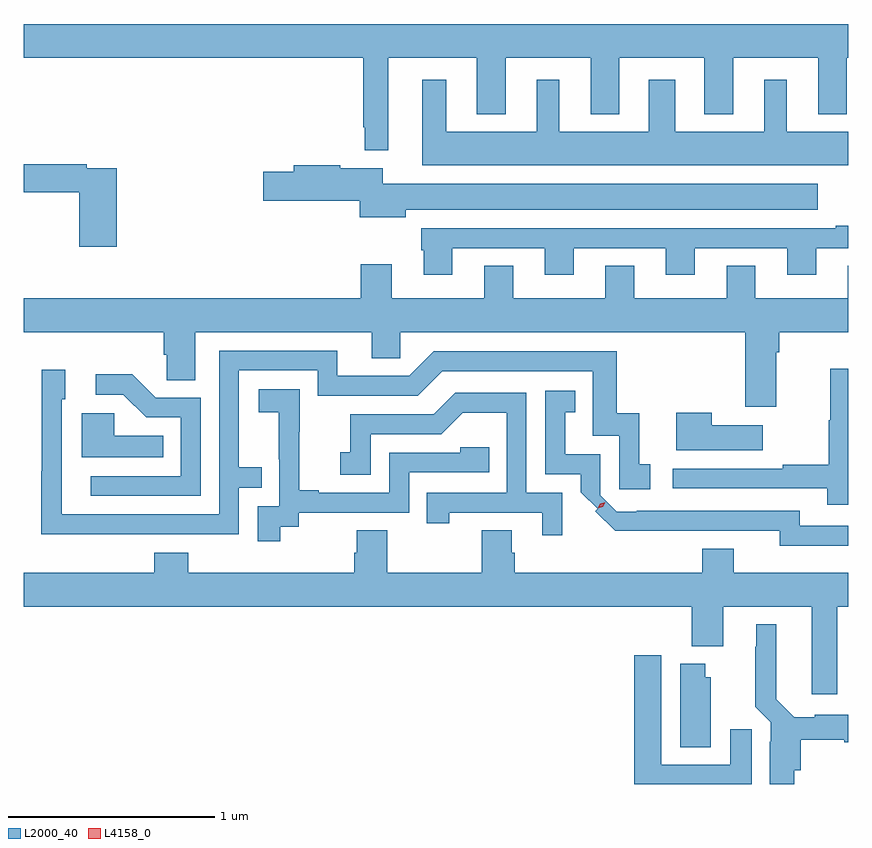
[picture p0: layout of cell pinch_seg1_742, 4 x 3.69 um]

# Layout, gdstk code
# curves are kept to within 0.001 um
import gdstk
lib = gdstk.Library(unit=1e-6, precision=1e-09)
def P(c, l, *ps):  # polygons
    for p in ps: c.add(gdstk.Polygon(p, *l))
L2000_40 = (2000, 40)
L4158_0 = (4158, 0)

pinch_seg1_742 = lib.new_cell('pinch_seg1_742')
P(pinch_seg1_742, L2000_40, [(878.563,517.1),(878.993,517.1),(878.993,516.827),(879.133,516.827),(879.133,517.1),(879.545,517.1),(879.545,516.827),(879.685,516.827),(879.685,517.1),(880.097,517.1),(880.097,516.827),(880.237,516.827),(880.237,517.1),(880.649,517.1),(880.649,516.827),(880.789,516.827),(880.789,517.1),(880.795,517.1),(880.795,517.264),(876.795,517.264),(876.795,517.1),(878.442,517.1),(878.442,516.763),(878.449,516.763),(878.449,516.651),(878.563,516.651)],
  [(880.795,516.742),(880.498,516.742),(880.498,516.994),(880.388,516.994),(880.388,516.742),(879.955,516.742),(879.955,516.994),(879.827,516.994),(879.827,516.742),(879.394,516.742),(879.394,516.994),(879.284,516.994),(879.284,516.742),(878.845,516.742),(878.845,516.994),(878.729,516.994),(878.729,516.578),(880.795,516.578)],
  [(877.247,516.564),(877.1,516.564),(877.1,516.584),(876.795,516.584),(876.795,516.448),(877.064,516.448),(877.064,516.183),(877.247,516.183)],
  [(878.647,516.362),(880.648,516.362),(880.648,516.49),(878.536,516.49),(878.536,516.565),(878.33,516.565),(878.33,516.578),(878.105,516.578),(878.105,516.548),(877.956,516.548),(877.956,516.406),(878.426,516.406),(878.426,516.326),(878.647,516.326)],
  [(878.875,516.177),(879.323,516.177),(879.323,516.048),(879.463,516.048),(879.463,516.177),(879.911,516.177),(879.911,516.048),(880.051,516.048),(880.051,516.177),(880.499,516.177),(880.499,516.048),(880.639,516.048),(880.639,516.177),(880.795,516.177),(880.795,516.286),(880.735,516.286),(880.735,516.273),(878.723,516.273),(878.723,516.165),(878.735,516.165),(878.735,516.048),(878.875,516.048)],
  [(880.295,515.406),(880.447,515.406),(880.447,515.672),(880.46,515.672),(880.46,515.768),(880.795,515.768),(880.795,516.092),(880.793,516.092),(880.793,515.932),(880.345,515.932),(880.345,516.092),(880.205,516.092),(880.205,515.932),(879.757,515.932),(879.757,516.092),(879.617,516.092),(879.617,515.932),(879.169,515.932),(879.169,516.092),(879.029,516.092),(879.029,515.932),(878.581,515.932),(878.581,516.097),(878.429,516.097),(878.429,515.932),(876.795,515.932),(876.795,515.768),(877.475,515.768),(877.475,515.659),(877.488,515.659),(877.488,515.536),(877.627,515.536),(877.627,515.768),(878.483,515.768),(878.483,515.641),(878.622,515.641),(878.622,515.768),(880.295,515.768)],
  [(877.343,514.788),(877.839,514.788),(877.839,515.013),(877.949,515.013),(877.949,515.114),(877.839,515.114),(877.839,515.583),(878.22,515.583),(878.22,515.46),(878.706,515.46),(878.826,515.58),(879.555,515.58),(879.555,515.265),(879.684,515.265),(879.684,515.007),(879.835,515.007),(879.835,515.127),(879.782,515.127),(879.782,515.374),(879.671,515.374),(879.671,515.676),(878.784,515.676),(878.664,515.556),(878.317,515.556),(878.317,515.679),(877.743,515.679),(877.743,514.884),(876.979,514.884),(876.978,515.442),(876.997,515.442),(876.997,515.587),(876.882,515.587),(876.882,515.093),(876.88,515.093),(876.88,514.787)],
  [(880.795,515.59),(880.708,515.59),(880.708,515.34),(880.701,515.34),(880.701,515.126),(880.477,515.126),(880.477,515.106),(879.945,515.106),(879.945,515.01),(880.693,515.01),(880.693,514.932),(880.795,514.932)],
  [(877.653,515.451),(877.434,515.451),(877.321,515.564),(877.143,515.564),(877.143,515.466),(877.277,515.466),(877.388,515.355),(877.557,515.355),(877.557,515.07),(877.119,515.07),(877.119,514.974),(877.653,514.974)],
  [(878.038,514.825),(878.13,514.825),(878.13,514.893),(878.664,514.893),(878.664,515.088),(879.053,515.088),(879.053,515.211),(878.913,515.211),(878.913,515.184),(878.568,515.184),(878.568,514.989),(878.227,514.989),(878.227,515.002),(878.132,515.002),(878.132,515.285),(878.133,515.285),(878.133,515.491),(877.935,515.491),(877.935,515.381),(878.033,515.381),(878.033,515.153),(878.034,515.153),(878.034,514.923),(877.929,514.923),(877.929,514.755),(878.038,514.755)],
  [(880.795,514.83),(880.56,514.83),(880.56,514.902),(879.769,514.902),(879.769,514.896),(879.672,514.896),(879.591,514.977),(879.591,515.175),(879.421,515.175),(879.421,515.379),(879.47,515.379),(879.47,515.485),(879.324,515.485),(879.324,515.079),(879.498,515.079),(879.498,514.991),(879.579,514.911),(879.568,514.9),(879.664,514.805),(880.464,514.806),(880.464,514.733),(880.795,514.733)],
  [(879.408,514.989),(879.234,514.989),(879.234,515.475),(878.888,515.475),(878.783,515.37),(878.38,515.37),(878.38,515.185),(878.331,515.185),(878.331,515.076),(878.478,515.076),(878.478,515.274),(878.82,515.274),(878.924,515.378),(879.138,515.378),(879.138,514.989),(878.749,514.989),(878.749,514.842),(878.86,514.842),(878.86,514.893),(879.311,514.893),(879.311,514.782),(879.408,514.782)],
  [(880.381,515.317),(880.133,515.317),(880.133,515.377),(879.962,515.377),(879.962,515.195),(880.381,515.195)],
  [(877.472,515.266),(877.233,515.266),(877.233,515.374),(877.076,515.374),(877.076,515.162),(877.472,515.162)],
  [(880.742,514.436),(880.795,514.436),(880.795,514.6),(880.24,514.6),(880.24,514.717),(880.088,514.717),(880.088,514.6),(879.176,514.6),(879.176,514.698),(879.163,514.698),(879.163,514.808),(879.016,514.808),(879.016,514.6),(878.559,514.6),(878.559,514.808),(878.411,514.808),(878.411,514.698),(878.399,514.698),(878.399,514.6),(877.592,514.6),(877.592,514.699),(877.427,514.699),(877.427,514.6),(876.795,514.6),(876.795,514.436),(880.037,514.436),(880.037,514.244),(880.189,514.244),(880.189,514.436),(880.619,514.436),(880.619,514.011),(880.742,514.011)],
  [(880.534,513.642),(880.565,513.642),(880.565,513.791),(880.776,513.791),(880.776,513.779),(880.795,513.779),(880.795,513.913),(880.632,513.913),(880.632,513.901),(880.533,513.901),(880.447,513.988),(880.447,514.351),(880.349,514.351),(880.349,514.241),(880.345,514.241),(880.345,513.95),(880.419,513.876),(880.419,513.782),(880.415,513.782),(880.415,513.576),(880.534,513.576)],
  [(880.327,513.841),(880.223,513.841),(880.223,513.669),(879.889,513.669),(879.889,514.201),(879.758,514.201),(879.758,513.576),(880.327,513.576)],
  [(880.129,514.095),(880.102,514.095),(880.102,514.159),(879.98,514.159),(879.98,513.754),(880.129,513.754)])
P(pinch_seg1_742, L4158_0, [(879.58,514.914),(879.58,514.915),(879.592,514.937),(879.616,514.944),(879.616,514.944),(879.616,514.944),(879.604,514.922),(879.58,514.914)])

lib.write_gds('pinch_seg1_742.gds')
